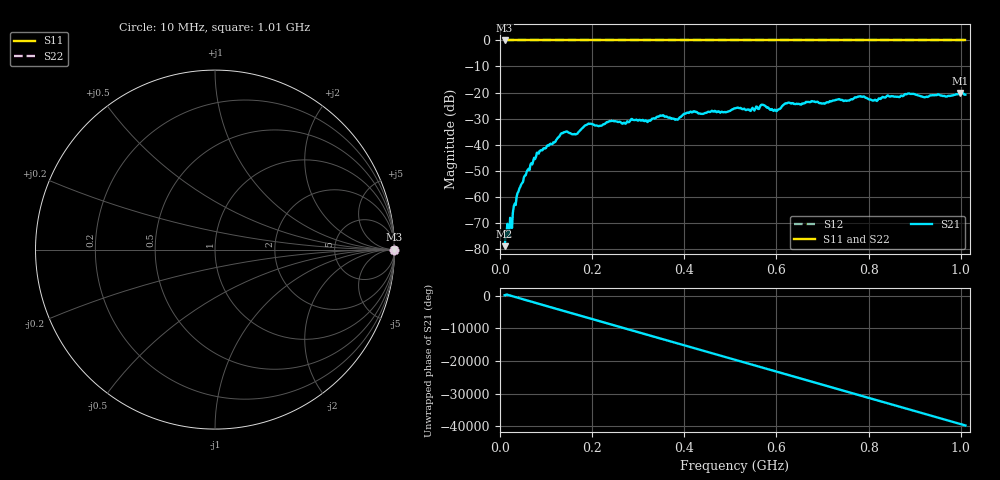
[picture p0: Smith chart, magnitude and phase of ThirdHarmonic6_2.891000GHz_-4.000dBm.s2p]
! 8/17/2025 7:57:31 AM
! C:\ANRITSUVNA\TEMP\TEMP.S2P
! CHANNEL.1
! TR.MEASUREMENT
! RAW.DATA
! RF.CORRECTION.OFF
! AVERAGING.OFF
! IF.BANDWIDTH: 5KHZ
! SWEEPTYPE:  FREQ.SWEEP(Linear)
! Reference Plane Port Info
! PORT:  PORT1  PORT2
! DISTANCE:  0  m  0  m
! TIME:  0  s  0  s
! PHASE.OFFSET:  0  deg.  0  deg.
! LOSS:  0  dB  0  dB
! REF.LOSS:  0  dB  0  dB
! REF.FREQ:  0  Hz  0  Hz
! Power Info
! POWER:  -20  dBm  -20  dBm
! EFF.POWER:  -20  dBm  -20  dBm
! SOURCE.ATTEN:  0  dB  0  dB
! TEST.ATTEN:  0  dB  0  dB
# GHZ S RI R 50.0
! FREQ.GHZ  S11RE  S11IM  S21RE  S21IM  S12RE  S12IM  S22RE  S22IM
!; PortSelection: Port_12
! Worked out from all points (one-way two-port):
!   501 points, 10 MHz to 1.01 GHz, reference 50 ohm
!   highest |S21| = -20.12 dB at 998 MHz (marker M1); lowest = -79.0 dB at 10 MHz (marker M2)
!   lowest |S11| = 0.0 dB at 10 MHz (marker M3)
!   |S11| at or under -10 dB: nowhere
!   |S22| runs from 0.0 to 0.0 dB; largest |S21 - S12| = 1.1
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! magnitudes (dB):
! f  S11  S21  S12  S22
! 10 MHz  0.0  -79.0  0.0  0.0
! 22 MHz  0.0  -68.1  0.0  0.0
! 40 MHz  0.0  -58.1  0.0  0.0
! 78 MHz  0.0  -44.7  0.0  0.0
! 136 MHz  0.0  -35.6  0.0  0.0
! 164 MHz  0.0  -36.1  0.0  0.0
! 178 MHz  0.0  -33.8  0.0  0.0
! 194 MHz  0.0  -32.0  0.0  0.0
! 322 MHz  0.0  -30.9  0.0  0.0
! 344 MHz  0.0  -29.3  0.0  0.0
! 384 MHz  0.0  -30.3  0.0  0.0
! 410 MHz  0.0  -27.8  0.0  0.0
! 510 MHz  0.0  -26.1  0.0  0.0
! 570 MHz  0.0  -24.7  0.0  0.0
! 598 MHz  0.0  -26.7  0.0  0.0
! 622 MHz  0.0  -24.2  0.0  0.0
! 678 MHz  0.0  -23.3  0.0  0.0
! 782 MHz  0.0  -21.4  0.0  0.0
! 814 MHz  0.0  -22.8  0.0  0.0
! 844 MHz  0.0  -21.4  0.0  0.0
! 998 MHz  0.0  -20.1  0.0  0.0
! 1.01 GHz  0.0  -20.8  0.0  0.0
